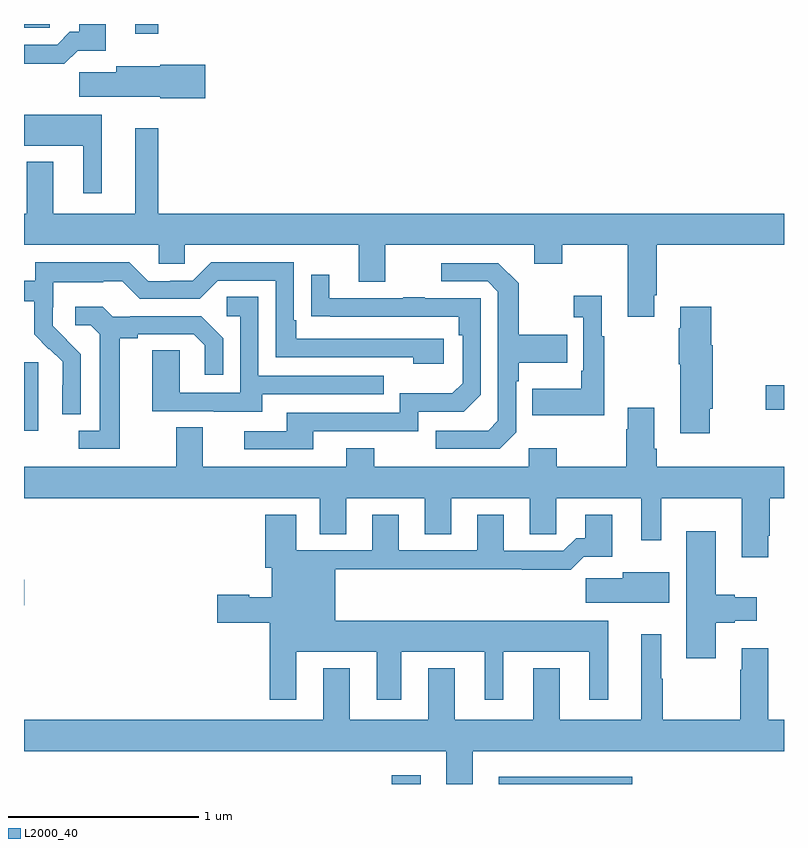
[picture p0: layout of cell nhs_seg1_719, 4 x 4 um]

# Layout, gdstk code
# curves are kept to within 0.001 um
import gdstk
lib = gdstk.Library(unit=1e-6, precision=1e-09)
def R(c, l, rs):  # rectangles x0, y0, x1, y1
    for r in rs: c.add(gdstk.rectangle(r[:2], r[2:], *l))
def P(c, l, *ps):  # polygons
    for p in ps: c.add(gdstk.Polygon(p, *l))
L2000_40 = (2000, 40)

nhs_seg1_719 = lib.new_cell('nhs_seg1_719')
R(nhs_seg1_719, L2000_40, [(150.935,578.199,151.087,578.245), (151.499,578.199,152.2,578.236), (149,579.14,149.002,579.274), (149,580.058,149.074,580.419), (152.904,580.169,153,580.299), (149.585,582.147,149.707,582.199), (149,582.178,149.136,582.199)])
P(nhs_seg1_719, L2000_40, [(149.282,582.059),(149.431,582.059),(149.431,582.199),(149.291,582.199),(149.291,582.157),(149.242,582.157),(149.175,582.09),(149,582.09),(149,581.99),(149.213,581.99)],
  [(149.953,581.985),(149.718,581.985),(149.718,581.977),(149.486,581.977),(149.486,581.945),(149.292,581.945),(149.292,581.816),(149.718,581.816),(149.718,581.807),(149.953,581.807)],
  [(149.41,581.722),(149,581.722),(149,581.558),(149.312,581.558),(149.312,581.307),(149.41,581.307)],
  [(152.317,580.771),(152.33,580.771),(152.33,581.036),(153,581.036),(153,581.2),(149.707,581.2),(149.707,581.65),(149.585,581.65),(149.585,581.2),(149.155,581.2),(149.155,581.473),(149.015,581.473),(149.015,581.2),(149,581.2),(149,581.036),(149.709,581.036),(149.709,580.938),(149.847,580.938),(149.847,581.036),(150.761,581.036),(150.761,580.842),(150.901,580.842),(150.901,581.036),(151.685,581.036),(151.685,580.937),(151.833,580.937),(151.833,581.036),(152.177,581.036),(152.177,580.659),(152.317,580.659)],
  [(149.298,580.462),(149.152,580.61),(149.152,580.707),(149.154,580.707),(149.154,580.841),(149.417,580.841),(149.417,580.845),(149.517,580.845),(149.61,580.752),(149.925,580.752),(150.021,580.848),(150.324,580.848),(150.324,580.446),(151.049,580.446),(151.049,580.412),(151.21,580.412),(151.21,580.542),(150.433,580.542),(150.433,580.639),(150.42,580.639),(150.42,580.944),(149.985,580.944),(149.889,580.848),(149.771,580.848),(149.771,580.845),(149.655,580.845),(149.555,580.945),(149.058,580.945),(149.058,580.848),(149,580.848),(149,580.74),(149.053,580.74),(149.053,580.565),(149.13,580.488),(149.133,580.491),(149.204,580.421),(149.204,580.298),(149.202,580.298),(149.202,580.144),(149.298,580.144)],
  [(151.59,580.05),(151.59,580.319),(151.603,580.319),(151.603,580.415),(151.859,580.415),(151.859,580.563),(151.603,580.563),(151.603,580.835),(151.497,580.941),(151.197,580.941),(151.197,580.845),(151.44,580.845),(151.494,580.791),(151.494,580.11),(151.443,580.059),(151.167,580.059),(151.167,579.963),(151.503,579.963)],
  [(150.523,580.056),(151.074,580.056),(151.074,580.158),(151.314,580.158),(151.404,580.248),(151.404,580.755),(151.109,580.755),(151.109,580.76),(150.997,580.76),(150.997,580.755),(150.607,580.755),(150.607,580.879),(150.511,580.879),(150.511,580.66),(151.288,580.659),(151.288,580.562),(151.308,580.562),(151.308,580.308),(151.255,580.255),(150.978,580.255),(150.978,580.152),(150.383,580.152),(150.383,580.056),(150.159,580.056),(150.159,579.96),(150.523,579.96)],
  [(152.053,580.555),(152.041,580.555),(152.041,580.768),(151.893,580.768),(151.893,580.655),(151.944,580.655),(151.944,580.375),(151.932,580.375),(151.932,580.279),(151.675,580.279),(151.675,580.139),(152.053,580.139)],
  [(150.253,580.251),(150.893,580.251),(150.893,580.347),(150.234,580.347),(150.234,580.763),(150.066,580.763),(150.066,580.662),(150.138,580.662),(150.138,580.257),(149.82,580.257),(149.82,580.481),(149.675,580.481),(149.675,580.161),(149.999,580.161),(149.999,580.157),(150.253,580.157)],
  [(152.608,580.173),(152.626,580.173),(152.626,580.509),(152.616,580.509),(152.616,580.711),(152.453,580.711),(152.453,580.598),(152.446,580.598),(152.446,580.409),(152.453,580.409),(152.453,580.044),(152.608,580.044)],
  [(149.503,580.544),(149.599,580.544),(149.599,580.566),(149.894,580.566),(149.951,580.509),(149.951,580.353),(150.048,580.353),(150.048,580.546),(149.932,580.662),(149.56,580.662),(149.56,580.659),(149.466,580.659),(149.414,580.711),(149.271,580.711),(149.271,580.614),(149.352,580.614),(149.399,580.567),(149.399,580.059),(149.289,580.059),(149.289,579.963),(149.503,579.963)],
  [(152.917,579.505),(152.925,579.505),(152.925,579.704),(153,579.704),(153,579.868),(152.33,579.868),(152.33,579.964),(152.317,579.964),(152.317,580.18),(152.177,580.18),(152.177,580.067),(152.17,580.067),(152.17,579.868),(151.803,579.868),(151.803,579.967),(151.656,579.967),(151.656,579.868),(150.843,579.868),(150.843,579.967),(150.695,579.967),(150.695,579.868),(149.941,579.868),(149.941,580.076),(149.801,580.076),(149.801,579.868),(149,579.868),(149,579.704),(150.557,579.704),(150.557,579.514),(150.697,579.514),(150.697,579.704),(151.109,579.704),(151.109,579.514),(151.249,579.514),(151.249,579.704),(151.661,579.704),(151.661,579.514),(151.8,579.514),(151.8,579.704),(152.249,579.704),(152.249,579.483),(152.353,579.483),(152.353,579.704),(152.777,579.704),(152.777,579.393),(152.917,579.393)],
  [(150.433,578.894),(150.857,578.894),(150.857,578.643),(150.985,578.643),(150.985,578.894),(151.424,578.894),(151.424,578.643),(151.522,578.643),(151.522,578.894),(151.976,578.894),(151.976,578.643),(152.074,578.643),(152.074,579.058),(150.637,579.058),(150.637,579.328),(151.621,579.328),(151.621,579.326),(151.877,579.326),(151.946,579.395),(152.095,579.395),(152.095,579.616),(151.955,579.616),(151.955,579.493),(151.906,579.493),(151.839,579.426),(151.525,579.426),(151.525,579.616),(151.385,579.616),(151.385,579.429),(150.973,579.429),(150.973,579.616),(150.833,579.616),(150.833,579.429),(150.433,579.429),(150.433,579.616),(150.269,579.616),(150.269,579.336),(150.305,579.336),(150.305,579.181),(150.185,579.181),(150.185,579.194),(150.018,579.194),(150.018,579.047),(150.293,579.047),(150.293,578.643),(150.433,578.643)],
  [(152.641,579.047),(152.741,579.047),(152.741,579.059),(152.857,579.059),(152.857,579.181),(152.741,579.181),(152.741,579.194),(152.641,579.194),(152.641,579.529),(152.486,579.529),(152.486,578.862),(152.641,578.862)],
  [(152.395,579.313),(152.15,579.313),(152.15,579.281),(151.956,579.281),(151.956,579.152),(152.395,579.152)],
  [(151.267,578.809),(151.127,578.809),(151.127,578.536),(150.715,578.536),(150.715,578.809),(150.575,578.809),(150.575,578.536),(149,578.536),(149,578.372),(151.223,578.372),(151.223,578.199),(151.363,578.199),(151.363,578.372),(153,578.372),(153,578.536),(152.917,578.536),(152.917,578.914),(152.777,578.914),(152.777,578.801),(152.77,578.801),(152.77,578.536),(152.363,578.536),(152.363,578.753),(152.353,578.753),(152.353,578.986),(152.249,578.986),(152.249,578.536),(151.819,578.536),(151.819,578.809),(151.679,578.809),(151.679,578.536),(151.267,578.536)])

lib.write_gds('nhs_seg1_719.gds')
